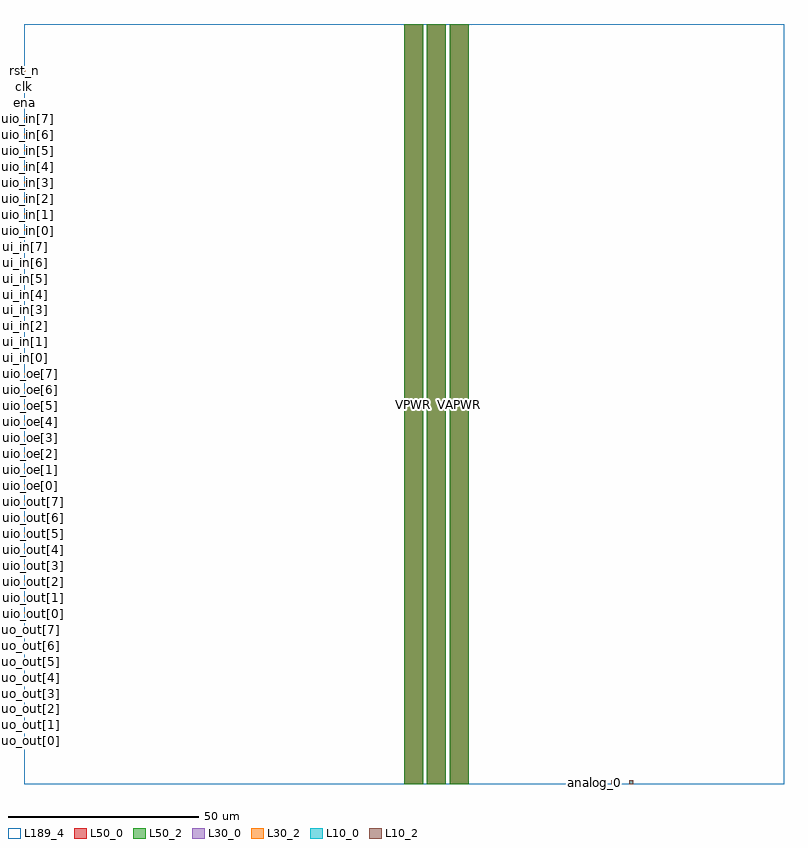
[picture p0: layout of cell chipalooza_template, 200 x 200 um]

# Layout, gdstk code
import gdstk
lib = gdstk.Library(unit=1e-6, precision=1e-09)
def R(c, l, rs):  # rectangles x0, y0, x1, y1
    for r in rs: c.add(gdstk.rectangle(r[:2], r[2:], *l))
def A(c, l, x, y, w, h, nx, ny, dx, dy):  # array of equal rectangles
    R(c, l, [(x+i*dx, y+j*dy, x+i*dx+w, y+j*dy+h) for i in range(nx) for j in range(ny)])
L10_0 = (10, 0)
L10_2 = (10, 2)
L30_0 = (30, 0)
L30_2 = (30, 2)
L50_0 = (50, 0)
L50_2 = (50, 2)
L189_4 = (189, 4)

chipalooza_template = lib.new_cell('chipalooza_template')
A(chipalooza_template, L10_0, 149.74, 0, 1, 1, 3, 1, 4.8, 0)
A(chipalooza_template, L10_2, 149.74, 0, 1, 1, 3, 1, 4.8, 0)
A(chipalooza_template, L30_0, 0, 11.14, 0.4, 0.4, 1, 43, 0, 4.2)
A(chipalooza_template, L30_2, 0, 11.14, 0.4, 0.4, 1, 43, 0, 4.2)
A(chipalooza_template, L50_0, 100, 0, 5, 200, 3, 1, 6, 0)
A(chipalooza_template, L50_2, 100, 0, 5, 200, 3, 1, 6, 0)
R(chipalooza_template, L189_4, [(0,0,200,200)])
chipalooza_template.add(gdstk.Label('analog_0', (150.24,0.5), layer=10, texttype=25))
chipalooza_template.add(gdstk.Label('analog_1', (155.04,0.5), layer=10, texttype=25))
chipalooza_template.add(gdstk.Label('analog_2', (159.84,0.5), layer=10, texttype=25))
chipalooza_template.add(gdstk.Label('clk', (0.2,183.54), layer=30, texttype=25))
chipalooza_template.add(gdstk.Label('ena', (0.2,179.34), layer=30, texttype=25))
chipalooza_template.add(gdstk.Label('rst_n', (0.2,187.74), layer=30, texttype=25))
chipalooza_template.add(gdstk.Label('ui_in[0]', (0.2,112.14), layer=30, texttype=25))
chipalooza_template.add(gdstk.Label('ui_in[1]', (0.2,116.34), layer=30, texttype=25))
chipalooza_template.add(gdstk.Label('ui_in[2]', (0.2,120.54), layer=30, texttype=25))
chipalooza_template.add(gdstk.Label('ui_in[3]', (0.2,124.74), layer=30, texttype=25))
chipalooza_template.add(gdstk.Label('ui_in[4]', (0.2,128.94), layer=30, texttype=25))
chipalooza_template.add(gdstk.Label('ui_in[5]', (0.2,133.14), layer=30, texttype=25))
chipalooza_template.add(gdstk.Label('ui_in[6]', (0.2,137.34), layer=30, texttype=25))
chipalooza_template.add(gdstk.Label('ui_in[7]', (0.2,141.54), layer=30, texttype=25))
chipalooza_template.add(gdstk.Label('uio_in[0]', (0.2,145.74), layer=30, texttype=25))
chipalooza_template.add(gdstk.Label('uio_in[1]', (0.2,149.94), layer=30, texttype=25))
chipalooza_template.add(gdstk.Label('uio_in[2]', (0.2,154.14), layer=30, texttype=25))
chipalooza_template.add(gdstk.Label('uio_in[3]', (0.2,158.34), layer=30, texttype=25))
chipalooza_template.add(gdstk.Label('uio_in[4]', (0.2,162.54), layer=30, texttype=25))
chipalooza_template.add(gdstk.Label('uio_in[5]', (0.2,166.74), layer=30, texttype=25))
chipalooza_template.add(gdstk.Label('uio_in[6]', (0.2,170.94), layer=30, texttype=25))
chipalooza_template.add(gdstk.Label('uio_in[7]', (0.2,175.14), layer=30, texttype=25))
chipalooza_template.add(gdstk.Label('uio_oe[0]', (0.2,78.54), layer=30, texttype=25))
chipalooza_template.add(gdstk.Label('uio_oe[1]', (0.2,82.74), layer=30, texttype=25))
chipalooza_template.add(gdstk.Label('uio_oe[2]', (0.2,86.94), layer=30, texttype=25))
chipalooza_template.add(gdstk.Label('uio_oe[3]', (0.2,91.14), layer=30, texttype=25))
chipalooza_template.add(gdstk.Label('uio_oe[4]', (0.2,95.34), layer=30, texttype=25))
chipalooza_template.add(gdstk.Label('uio_oe[5]', (0.2,99.54), layer=30, texttype=25))
chipalooza_template.add(gdstk.Label('uio_oe[6]', (0.2,103.74), layer=30, texttype=25))
chipalooza_template.add(gdstk.Label('uio_oe[7]', (0.2,107.94), layer=30, texttype=25))
chipalooza_template.add(gdstk.Label('uio_out[0]', (0.2,44.94), layer=30, texttype=25))
chipalooza_template.add(gdstk.Label('uio_out[1]', (0.2,49.14), layer=30, texttype=25))
chipalooza_template.add(gdstk.Label('uio_out[2]', (0.2,53.34), layer=30, texttype=25))
chipalooza_template.add(gdstk.Label('uio_out[3]', (0.2,57.54), layer=30, texttype=25))
chipalooza_template.add(gdstk.Label('uio_out[4]', (0.2,61.74), layer=30, texttype=25))
chipalooza_template.add(gdstk.Label('uio_out[5]', (0.2,65.94), layer=30, texttype=25))
chipalooza_template.add(gdstk.Label('uio_out[6]', (0.2,70.14), layer=30, texttype=25))
chipalooza_template.add(gdstk.Label('uio_out[7]', (0.2,74.34), layer=30, texttype=25))
chipalooza_template.add(gdstk.Label('uo_out[0]', (0.2,11.34), layer=30, texttype=25))
chipalooza_template.add(gdstk.Label('uo_out[1]', (0.2,15.54), layer=30, texttype=25))
chipalooza_template.add(gdstk.Label('uo_out[2]', (0.2,19.74), layer=30, texttype=25))
chipalooza_template.add(gdstk.Label('uo_out[3]', (0.2,23.94), layer=30, texttype=25))
chipalooza_template.add(gdstk.Label('uo_out[4]', (0.2,28.14), layer=30, texttype=25))
chipalooza_template.add(gdstk.Label('uo_out[5]', (0.2,32.34), layer=30, texttype=25))
chipalooza_template.add(gdstk.Label('uo_out[6]', (0.2,36.54), layer=30, texttype=25))
chipalooza_template.add(gdstk.Label('uo_out[7]', (0.2,40.74), layer=30, texttype=25))
chipalooza_template.add(gdstk.Label('VAPWR', (114.5,100), layer=50, texttype=25))
chipalooza_template.add(gdstk.Label('VGND', (108.5,100), layer=50, texttype=25))
chipalooza_template.add(gdstk.Label('VPWR', (102.5,100), layer=50, texttype=25))

lib.write_gds('chipalooza_template.gds')
